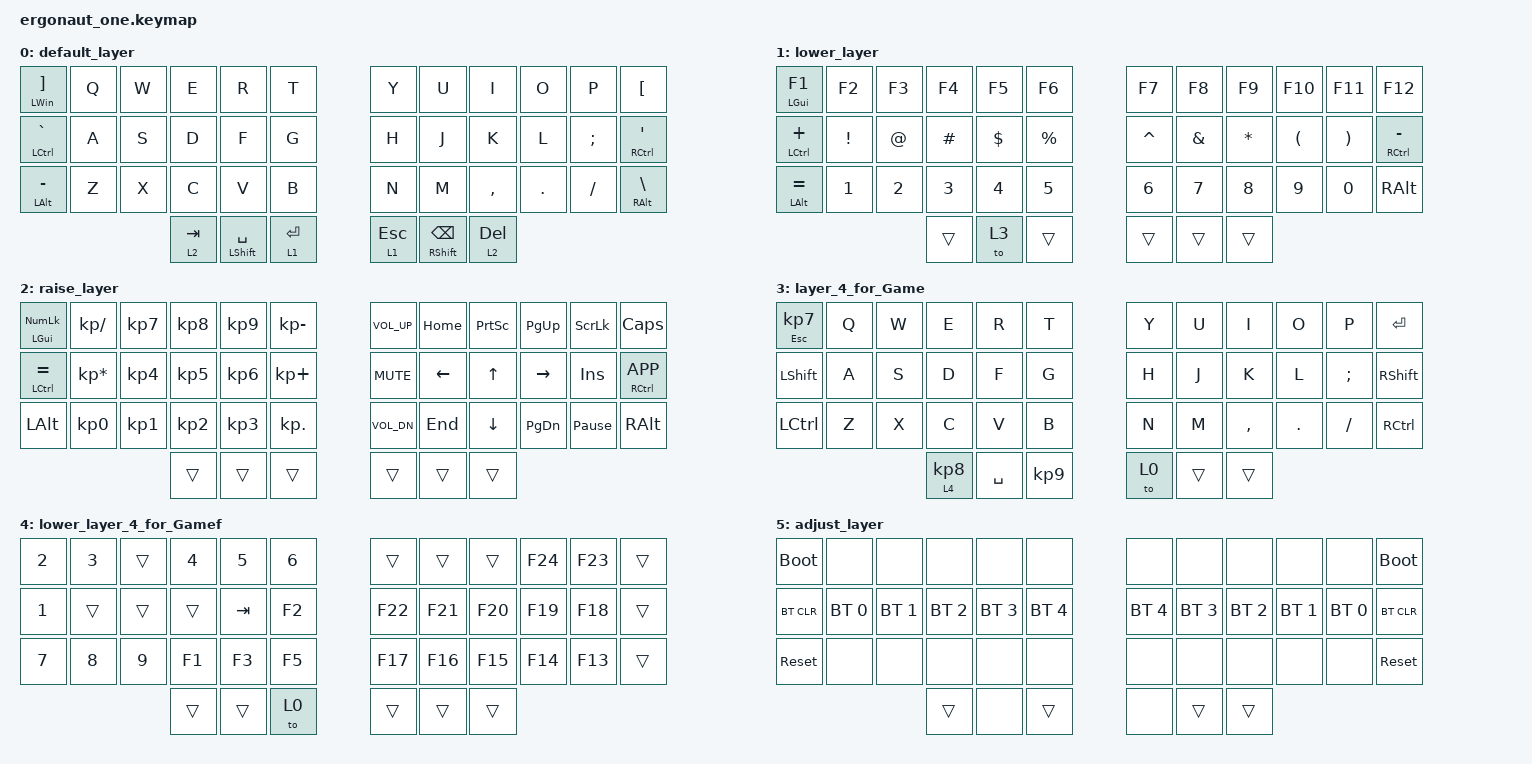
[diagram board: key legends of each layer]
#include <behaviors.dtsi>
#include <dt-bindings/zmk/bt.h>
#include <dt-bindings/zmk/keys.h>

#define DEF 0
#define LWR 1
#define RSE 2
#define ADJ 3

&lt { quick-tap-ms = <200>; };

&mt { quick-tap-ms = <200>; };

/ {
    conditional_layers {
        compatible = "zmk,conditional-layers";

        tri-layer {
            if-layers = <1 2>;
            then-layer = <5>;
        };
    };

    keymap {
        compatible = "zmk,keymap";

        default_layer {
            bindings = <
&mt LEFT_WIN RIGHT_BRACKET  &kp Q  &kp W  &kp E      &kp R            &kp T      &kp Y      &kp U           &kp I      &kp O    &kp P     &kp LBKT
&mt LCTRL GRAVE             &kp A  &kp S  &kp D      &kp F            &kp G      &kp H      &kp J           &kp K      &kp L    &kp SEMI  &mt RCTRL SQT
&mt LALT MINUS              &kp Z  &kp X  &kp C      &kp V            &kp B      &kp N      &kp M           &kp COMMA  &kp DOT  &kp FSLH  &mt RALT BSLH
                                          &lt 2 TAB  &mt LSHFT SPACE  &lt 1 RET  &lt 1 ESC  &mt RSHFT BSPC  &lt 2 DEL
            >;
        };

        lower_layer {
            bindings = <
&mt LGUI F1     &kp F2    &kp F3  &kp F4    &kp F5    &kp F6     &kp F7     &kp F8    &kp F9    &kp F10   &kp F11   &kp F12
&mt LCTRL PLUS  &kp EXCL  &kp AT  &kp HASH  &kp DLLR  &kp PRCNT  &kp CARET  &kp AMPS  &kp STAR  &kp LPAR  &kp RPAR  &mt RCTRL MINUS
&mt LALT EQUAL  &kp N1    &kp N2  &kp N3    &kp N4    &kp N5     &kp N6     &kp N7    &kp N8    &kp N9    &kp N0    &kp RALT
                                  &trans    &to 3     &trans     &trans     &trans    &trans
            >;
        };

        raise_layer {
            bindings = <
&mt LGUI KP_NUM  &kp KP_SLASH     &kp KP_N7  &kp KP_N8  &kp KP_N9  &kp KP_MINUS  &kp C_VOL_UP  &kp HOME  &kp PSCRN  &kp PG_UP  &kp SLCK         &kp CLCK
&mt LCTRL EQUAL  &kp KP_MULTIPLY  &kp KP_N4  &kp KP_N5  &kp KP_N6  &kp KP_PLUS   &kp C_MUTE    &kp LEFT  &kp UP     &kp RIGHT  &kp INS          &mt RCTRL K_APP
&kp LALT         &kp KP_N0        &kp KP_N1  &kp KP_N2  &kp KP_N3  &kp KP_DOT    &kp C_VOL_DN  &kp END   &kp DOWN   &kp PG_DN  &kp PAUSE_BREAK  &kp RALT
                                             &trans     &trans     &trans        &trans        &trans    &trans
            >;
        };

        layer_4_for_Game {
            bindings = <
&mt ESC KP_NUMBER_7  &kp Q  &kp W  &kp E              &kp R      &kp T            &kp Y  &kp U   &kp I      &kp O       &kp P          &kp ENTER
&kp LSHFT            &kp A  &kp S  &kp D              &kp F      &kp G            &kp H  &kp J   &kp K      &kp L       &kp SEMICOLON  &kp RSHFT
&kp LCTRL            &kp Z  &kp X  &kp C              &kp V      &kp B            &kp N  &kp M   &kp COMMA  &kp PERIOD  &kp SLASH      &kp RCTRL
                                   &lt 4 KP_NUMBER_8  &kp SPACE  &kp KP_NUMBER_9  &to 0  &trans  &trans
            >;
        };

        lower_layer_4_for_Gamef {
            bindings = <
&kp NUMBER_2  &kp NUMBER_3  &trans        &kp NUMBER_4  &kp NUMBER_5  &kp NUMBER_6  &trans   &trans   &trans   &kp F24  &kp F23  &trans
&kp NUMBER_1  &trans        &trans        &trans        &kp TAB       &kp F2        &kp F22  &kp F21  &kp F20  &kp F19  &kp F18  &trans
&kp NUMBER_7  &kp NUMBER_8  &kp NUMBER_9  &kp F1        &kp F3        &kp F5        &kp F17  &kp F16  &kp F15  &kp F14  &kp F13  &trans
                                          &trans        &trans        &to 0         &trans   &trans   &trans
            >;
        };

        adjust_layer {
            bindings = <
&bootloader  &none         &none         &none         &none         &none         &none         &none         &none         &none         &none         &bootloader
&bt BT_CLR   &bt BT_SEL 0  &bt BT_SEL 1  &bt BT_SEL 2  &bt BT_SEL 3  &bt BT_SEL 4  &bt BT_SEL 4  &bt BT_SEL 3  &bt BT_SEL 2  &bt BT_SEL 1  &bt BT_SEL 0  &bt BT_CLR
&sys_reset   &none         &none         &none         &none         &none         &none         &none         &none         &none         &none         &sys_reset
                                         &trans        &none         &trans        &none         &trans        &trans
            >;
        };
    };
};
